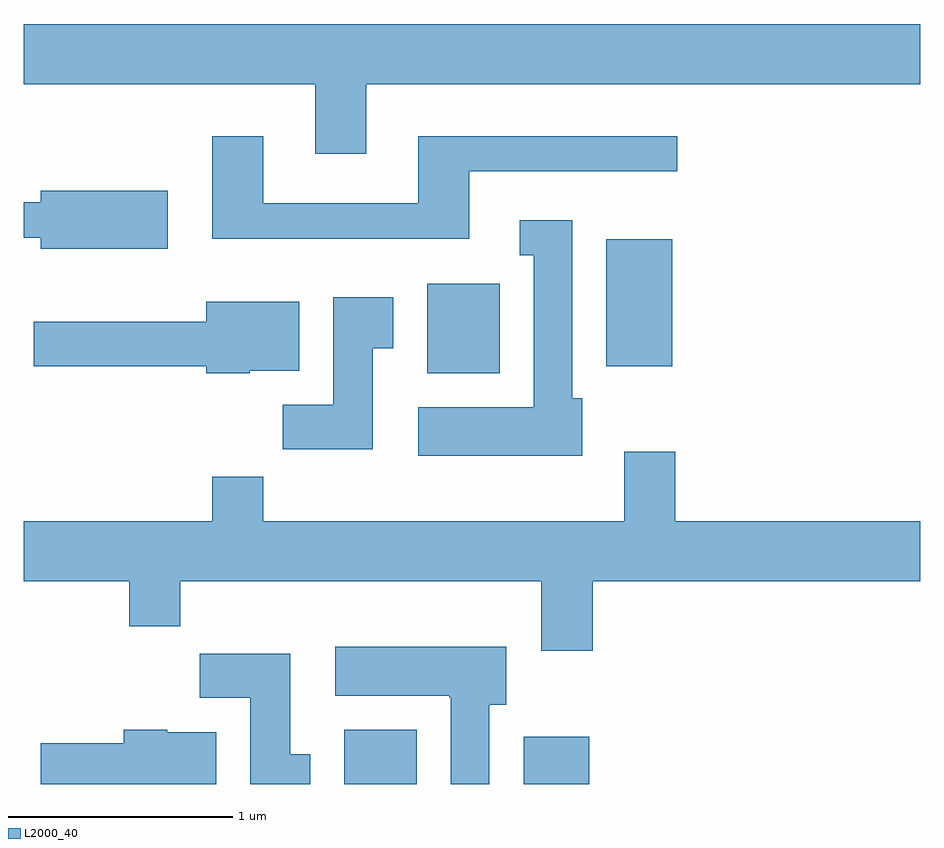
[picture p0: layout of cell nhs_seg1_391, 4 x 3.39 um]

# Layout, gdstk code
import gdstk
lib = gdstk.Library(unit=1e-6, precision=1e-09)
def R(c, l, rs):  # rectangles x0, y0, x1, y1
    for r in rs: c.add(gdstk.rectangle(r[:2], r[2:], *l))
def P(c, l, *ps):  # polygons
    for p in ps: c.add(gdstk.Polygon(p, *l))
L2000_40 = (2000, 40)

nhs_seg1_391 = lib.new_cell('nhs_seg1_391')
R(nhs_seg1_391, L2000_40, [(197.041,969.712,197.364,969.954), (197.841,969.712,198.134,969.924), (197.411,971.546,197.734,971.944), (198.211,971.576,198.504,972.144)])
P(nhs_seg1_391, L2000_40, [(197.139,972.836),(199.611,972.836),(199.611,973.104),(195.611,973.104),(195.611,972.836),(196.911,972.836),(196.911,972.526),(197.139,972.526)],
  [(197.599,972.446),(198.528,972.446),(198.528,972.604),(197.371,972.604),(197.371,972.304),(196.679,972.304),(196.679,972.604),(196.451,972.604),(196.451,972.146),(197.599,972.146)],
  [(196.254,972.359),(195.686,972.359),(195.686,972.309),(195.611,972.309),(195.611,972.151),(195.686,972.151),(195.686,972.101),(196.254,972.101)],
  [(198.104,971.434),(198.059,971.434),(198.059,972.229),(197.823,972.229),(197.823,972.071),(197.886,972.071),(197.886,971.394),(197.371,971.394),(197.371,971.176),(198.104,971.176)],
  [(197.169,971.656),(197.259,971.656),(197.259,971.884),(196.991,971.884),(196.991,971.404),(196.766,971.404),(196.766,971.206),(197.169,971.206)],
  [(196.62,971.556),(196.839,971.556),(196.839,971.864),(196.426,971.864),(196.426,971.774),(195.656,971.774),(195.656,971.576),(196.426,971.576),(196.426,971.546),(196.62,971.546)],
  [(198.149,970.616),(199.611,970.616),(199.611,970.884),(198.519,970.884),(198.519,971.194),(198.291,971.194),(198.291,970.884),(196.679,970.884),(196.679,971.084),(196.451,971.084),(196.451,970.884),(195.611,970.884),(195.611,970.616),(196.081,970.616),(196.081,970.416),(196.309,970.416),(196.309,970.616),(197.921,970.616),(197.921,970.306),(198.149,970.306)],
  [(197.689,970.066),(197.764,970.066),(197.764,970.324),(197.001,970.324),(197.001,970.106),(197.51,970.106),(197.51,970.1),(197.516,970.1),(197.516,969.712),(197.689,969.712)],
  [(196.889,969.844),(196.799,969.844),(196.799,970.294),(196.396,970.294),(196.396,970.096),(196.621,970.096),(196.621,969.712),(196.889,969.712)],
  [(196.469,969.944),(196.25,969.944),(196.25,969.954),(196.056,969.954),(196.056,969.894),(195.686,969.894),(195.686,969.712),(196.469,969.712)])

lib.write_gds('nhs_seg1_391.gds')
